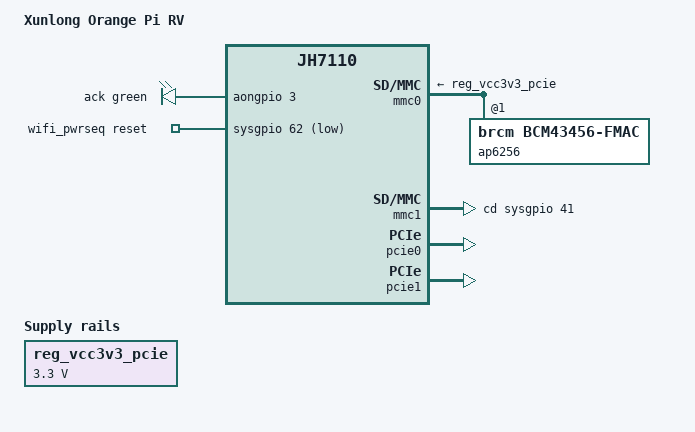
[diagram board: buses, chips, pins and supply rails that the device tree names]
// SPDX-License-Identifier: GPL-2.0 OR MIT
/*
 * Copyright (C) 2023 Jisheng Zhang <jszhang@kernel.org>
 */

/dts-v1/;
#include "jh7110-common.dtsi"
#include <dt-bindings/leds/common.h>

/ {
	model = "Xunlong Orange Pi RV";
	compatible = "xunlong,orangepi-rv", "starfive,jh7110";

	leds {
		compatible = "gpio-leds";

		led-ack {
			gpios = <&aongpio 3 GPIO_ACTIVE_HIGH>;
			color = <LED_COLOR_ID_GREEN>;
			function = LED_FUNCTION_HEARTBEAT;
			linux,default-trigger = "heartbeat";
			label = "ack";
		};
	};

	/* This regulator is always on by hardware */
	reg_vcc3v3_pcie: regulator-vcc3v3-pcie {
		compatible = "regulator-fixed";
		regulator-name = "vcc3v3-pcie";
		regulator-min-microvolt = <3300000>;
		regulator-max-microvolt = <3300000>;
		regulator-always-on;
	};

	wifi_pwrseq: wifi-pwrseq {
		compatible = "mmc-pwrseq-simple";
		reset-gpios = <&sysgpio 62 GPIO_ACTIVE_LOW>;
	};
};

&gmac0 {
	starfive,tx-use-rgmii-clk;
	assigned-clocks = <&aoncrg JH7110_AONCLK_GMAC0_TX>;
	assigned-clock-parents = <&aoncrg JH7110_AONCLK_GMAC0_RMII_RTX>;
};

&mmc0 {
	#address-cells = <1>;
	#size-cells = <0>;
	cap-sd-highspeed;
	mmc-pwrseq = <&wifi_pwrseq>;
	vmmc-supply = <&reg_vcc3v3_pcie>;
	vqmmc-supply = <&vcc_3v3>;
	status = "okay";

	ap6256: wifi@1 {
		compatible = "brcm,bcm43456-fmac", "brcm,bcm4329-fmac";
		reg = <1>;
		/* TODO: out-of-band IRQ on GPIO21 */
	};
};

&mmc0_pins {
	/*
	 * As the MMC0 bus is used to connect a SDIO Wi-Fi card instead of
	 * an eMMC card, and the eMMC RST is repurposed to be an enablement
	 * pin of the SDIO Wi-Fi, remove it from the pinctrl node and manage
	 * it as a GPIO instead.
	 */
	/delete-node/ rst-pins;
};

&mmc1 {
	cd-gpios = <&sysgpio 41 GPIO_ACTIVE_HIGH>;
};

&pcie0 {
	status = "okay";
};

&pcie1 {
	status = "okay";
};

&phy0 {
	motorcomm,tx-clk-adj-enabled;
	motorcomm,tx-clk-10-inverted;
	motorcomm,tx-clk-100-inverted;
	motorcomm,tx-clk-1000-inverted;
	motorcomm,rx-clk-drv-microamp = <3970>;
	motorcomm,rx-data-drv-microamp = <2910>;
	rx-internal-delay-ps = <1500>;
	tx-internal-delay-ps = <1500>;
};
